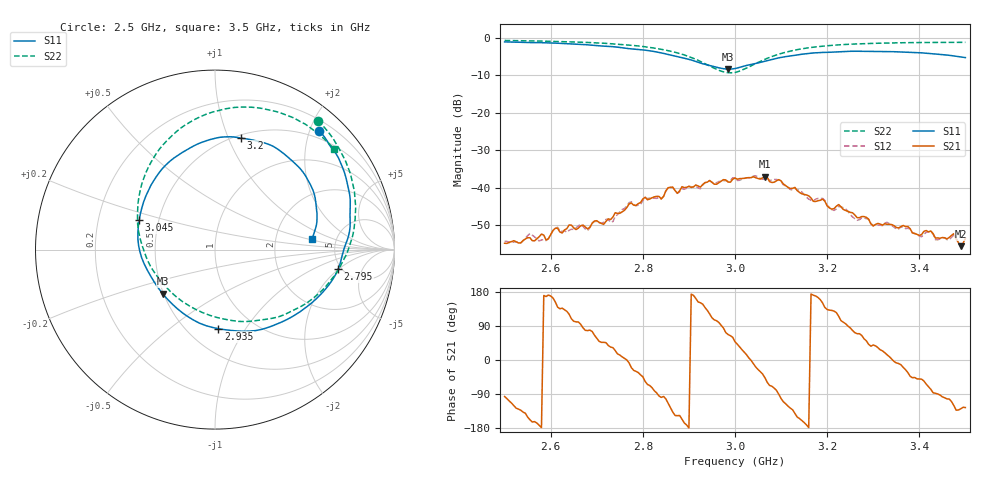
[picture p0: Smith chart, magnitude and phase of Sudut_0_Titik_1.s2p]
# Hz S RI R 50
! CMT, C1220, 16058040, 17.2.0/1
! Date: 15/08/2018 09:44:33
! Data: Format (Calibration Info)
! Freq  S11: Re/Im (F2)  S21: Re/Im (F2)  S12: Re/Im (F2)  S22: Re/Im (F2)
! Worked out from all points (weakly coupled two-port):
!   201 points, 2.5 GHz to 3.5 GHz, reference 50 ohm
!   highest |S21| = -37.11 dB at 3.065 GHz (marker M1); lowest = -55.7 dB at 3.49 GHz (marker M2)
!   lowest |S11| = -8.4 dB at 2.985 GHz (marker M3), VSWR 2.23, Z = 24.7 - j14.2 ohm
!   |S11| at or under -10 dB: nowhere
!   |S22| runs from -9.4 to -0.7 dB; largest |S21 - S12| = 0.0012
!   S11 on the Smith chart (normalised r, x): 2.5 GHz: 0.37, +2.16; 2.795 GHz: 4.67, -1.99; 2.935 GHz: 0.70, -0.76; 3.045 GHz: 0.39, +0.16; 3.2 GHz: 0.53, +1.11; 3.5 GHz: 3.28, +0.53
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2.5e9  0.5821 0.6599  -0.000198 -0.00179  -0.000225 -0.00191  0.5737 0.7188
2.555e9  0.6453 0.5721  -0.00197 -0.00081  -0.00221 -0.00101  0.6349 0.6501
2.59e9  0.69 0.5066  -0.00194 0.00043  -0.00194 0.000244  0.6712 0.5971
2.615e9  0.7112 0.4562  -0.00218 0.00185  -0.00226 0.00189  0.6954 0.5549
2.67e9  0.7492 0.3124  0.000266 0.00314  0.000438 0.00302  0.746 0.4459
2.715e9  0.7526 0.1765  0.00222 0.00234  0.00234 0.00251  0.7747 0.3354
2.77e9  0.7148 -0.00937  0.00597 -0.00078  0.00619 -0.000976  0.7806 0.1675
2.795e9  0.6859 -0.1102  0.00489 -0.00399  0.00455 -0.00378  0.7672 0.0785
2.835e9  0.5832 -0.2554  -0.000651 -0.00758  -0.000408 -0.00732  0.7053 -0.0787
2.935e9  0.0186 -0.4408  -0.00867 0.0077  -0.00903 0.0074  0.2109 -0.398
2.985e9  -0.2917 -0.2458  0.00459 0.0109  0.00421 0.0112  -0.1804 -0.2901
3e9  -0.3587 -0.1471  0.00893 0.00997  0.00952 0.00954  -0.2788 -0.2013
3.045e9  -0.4226 0.1637  0.0128 -0.00427  0.0136 -0.00433  -0.4308 0.1412
3.065e9  -0.3855 0.298  0.00952 -0.0102  0.00892 -0.00957  -0.4237 0.2947
3.17e9  0.0267 0.6255  -0.00646 0.00102  -0.00656 0.000521  -0.0711 0.7451
3.2e9  0.1424 0.622  -0.00389 0.00413  -0.00379 0.00438  0.0415 0.7801
3.335e9  0.4892 0.4331  0.00319 0.000494  0.00327 0.000356  0.4159 0.7426
3.425e9  0.5641 0.2398  0.00057 -0.00256  0.000525 -0.00254  0.5704 0.6494
3.435e9  0.5672 0.2132  8e-05 -0.00211  3.54e-05 -0.00201  0.5849 0.6374
3.475e9  0.5596 0.116  -0.00122 -0.00209  -0.00116 -0.00202  0.6348 0.5911
3.49e9  0.548 0.0795  -0.00103 -0.00129  -0.00119 -0.00124  0.6521 0.5721
3.5e9  0.54 0.0568  -0.00122 -0.00171  -0.0012 -0.00148  0.6634 0.5598
